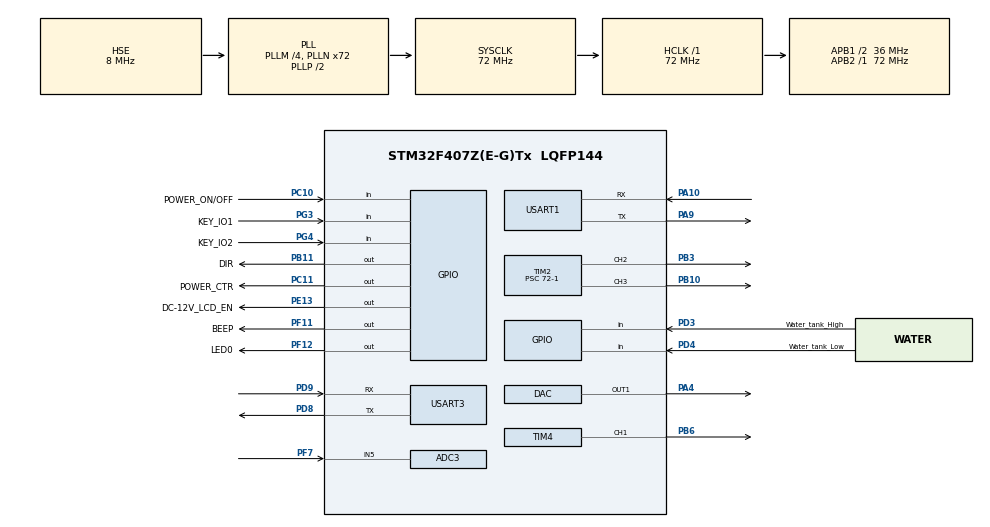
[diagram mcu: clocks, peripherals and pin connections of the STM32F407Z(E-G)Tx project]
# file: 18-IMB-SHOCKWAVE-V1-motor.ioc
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ADC3.Channel-0\#ChannelRegularConversion=ADC_CHANNEL_5
ADC3.ClockPrescaler=ADC_CLOCK_SYNC_PCLK_DIV6
ADC3.ContinuousConvMode=ENABLE
ADC3.NbrOfConversionFlag=1
ADC3.Rank-0\#ChannelRegularConversion=1
ADC3.SamplingTime-0\#ChannelRegularConversion=ADC_SAMPLETIME_15CYCLES
FREERTOS.BinarySemaphores01=Binary_pump_flag,Dynamic,NULL,Available;Binary_pump2_flag,Dynamic,NULL,Available
FREERTOS.Tasks01=PWR_Task,0,128,Start_PWR_Task,Default,NULL,Dynamic,NULL,NULL;LED_Task,-3,128,Start_LED_Task,Default,NULL,Dynamic,NULL,NULL;liquid_Task,-3,128,Start_liquid_Task,Default,NULL,Dynamic,NULL,NULL;water_pump_Task,-3,128,Start_water_pump_Task,Default,NULL,Dynamic,NULL,NULL;B3950_Task,-3,128,Start_B3950_Task,Default,NULL,Dynamic,NULL,NULL;PID_Task,-3,128,Start_PID_Task,Default,NULL,Dynamic,NULL,NULL;PID_printf_Task,-3,128,Start_PID_printf_Task,Default,NULL,Dynamic,NULL,NULL;VOFA_Task,-3,128,Start_VOFA_Task,Default,NULL,Dynamic,NULL,NULL;voice_Task,-3,128,Start_voice_Task,Default,NULL,Dynamic,NULL,NULL;servomotor_Task,-3,128,Start_servomotor_Task,Default,NULL,Dynamic,NULL,NULL
FREERTOS.configMAX_TASK_NAME_LEN=30
Mcu.Family=STM32F4
Mcu.Name=STM32F407Z(E-G)Tx
Mcu.Package=LQFP144
NVIC.PriorityGroup=NVIC_PRIORITYGROUP_4
NVIC.TIM3_IRQn=true\:5\:0\:false\:false\:true\:true\:true\:true\:true
NVIC.TIM7_IRQn=true\:15\:0\:false\:false\:true\:false\:false\:true\:true
NVIC.TimeBase=TIM7_IRQn
NVIC.TimeBaseIP=TIM7
NVIC.USART1_IRQn=true\:5\:0\:false\:false\:true\:true\:true\:true\:true
NVIC.USART3_IRQn=true\:5\:0\:false\:false\:true\:true\:true\:true\:true
PA10.Mode=Asynchronous
PA10.Signal=USART1_RX
PA13.Mode=Serial_Wire
PA13.Signal=SYS_JTMS-SWDIO
PA14.Mode=Serial_Wire
PA14.Signal=SYS_JTCK-SWCLK
PA4.Signal=COMP_DAC1_group
PA9.Mode=Asynchronous
PA9.Signal=USART1_TX
PB10.GPIO_PuPd=GPIO_PULLDOWN
PB10.GPIO_Speed=GPIO_SPEED_FREQ_HIGH
PB10.Signal=S_TIM2_CH3
PB11.GPIO_Label=DIR
PB11.GPIO_PuPd=GPIO_PULLDOWN
PB11.GPIO_Speed=GPIO_SPEED_FREQ_HIGH
PB11.Signal=GPIO_Output
PB3.GPIO_PuPd=GPIO_PULLDOWN
PB3.GPIO_Speed=GPIO_SPEED_FREQ_HIGH
PB3.Signal=S_TIM2_CH2
PB4.GPIO_PuPd=GPIO_PULLDOWN
PB4.Signal=S_TIM3_CH1
PB6.Signal=S_TIM4_CH1
PC10.GPIO_Label=POWER_ON/OFF
PC10.GPIO_PuPd=GPIO_PULLUP
PC10.Signal=GPIO_Input
PC11.GPIO_Label=POWER_CTR
PC11.GPIO_PuPd=GPIO_PULLDOWN
PC11.GPIO_Speed=GPIO_SPEED_FREQ_HIGH
PC11.PinState=GPIO_PIN_RESET
PC11.Signal=GPIO_Output
PD3.GPIO_Label=Water_tank_High
PD3.GPIO_PuPd=GPIO_PULLUP
PD3.Signal=GPIO_Input
PD4.GPIO_Label=Water_tank_Low
PD4.GPIO_PuPd=GPIO_PULLUP
PD4.Signal=GPIO_Input
PD8.Mode=Asynchronous
PD8.Signal=USART3_TX
PD9.Mode=Asynchronous
PD9.Signal=USART3_RX
PE13.GPIO_Label=DC-12V_LCD_EN
PE13.GPIO_PuPd=GPIO_PULLDOWN
PE13.GPIO_Speed=GPIO_SPEED_FREQ_HIGH
PE13.Signal=GPIO_Output
PF11.GPIO_Label=BEEP
PF11.GPIO_PuPd=GPIO_PULLDOWN
PF11.GPIO_Speed=GPIO_SPEED_FREQ_HIGH
PF11.Signal=GPIO_Output
PF12.GPIO_Label=LED0
PF12.GPIO_PuPd=GPIO_PULLDOWN
PF12.GPIO_Speed=GPIO_SPEED_FREQ_HIGH
PF12.Signal=GPIO_Output
PF7.Mode=IN5
PF7.Signal=ADC3_IN5
PG3.GPIO_Label=KEY_IO1
PG3.GPIO_PuPd=GPIO_PULLUP
PG3.Signal=GPIO_Input
PG4.GPIO_Label=KEY_IO2
PG4.GPIO_PuPd=GPIO_PULLUP
PG4.Signal=GPIO_Input
PH0-OSC_IN.Mode=HSE-External-Oscillator
PH0-OSC_IN.Signal=RCC_OSC_IN
PH1-OSC_OUT.Mode=HSE-External-Oscillator
PH1-OSC_OUT.Signal=RCC_OSC_OUT
ProjectManager.HeapSize=0x200
ProjectManager.StackSize=0x400
ProjectManager.TargetToolchain=MDK-ARM V5.32
RCC.48MHZClocksFreq_Value=36000000
RCC.AHBFreq_Value=72000000
RCC.APB1CLKDivider=RCC_HCLK_DIV2
RCC.APB1Freq_Value=36000000
RCC.APB1TimFreq_Value=72000000
RCC.APB2Freq_Value=72000000
RCC.APB2TimFreq_Value=72000000
RCC.CortexFreq_Value=72000000
RCC.HCLKFreq_Value=72000000
RCC.HSE_VALUE=8000000
RCC.HSI_VALUE=16000000
RCC.LSE_VALUE=32768
RCC.PLLM=4
RCC.PLLN=72
RCC.PLLSourceVirtual=RCC_PLLSOURCE_HSE
RCC.SYSCLKFreq_VALUE=72000000
RCC.SYSCLKSource=RCC_SYSCLKSOURCE_PLLCLK
RCC.VCOOutputFreq_Value=144000000
SH.COMP_DAC1_group.0=DAC_OUT1,DAC_OUT1
SH.S_TIM2_CH2.0=TIM2_CH2,PWM Generation2 CH2
SH.S_TIM2_CH3.0=TIM2_CH3,PWM Generation3 CH3
SH.S_TIM3_CH1.0=TIM3_CH1
SH.S_TIM4_CH1.0=TIM4_CH1,PWM Generation1 CH1
TIM2.AutoReloadPreload=TIM_AUTORELOAD_PRELOAD_ENABLE
TIM2.Channel-PWM\ Generation2\ CH2=TIM_CHANNEL_2
TIM2.Channel-PWM\ Generation3\ CH3=TIM_CHANNEL_3
TIM2.Period=2000-1
TIM2.Prescaler=72-1
TIM2.TIM_MasterOutputTrigger=TIM_TRGO_UPDATE
TIM2.TIM_MasterSlaveMode=TIM_MASTERSLAVEMODE_ENABLE
TIM4.Channel-PWM\ Generation1\ CH1=TIM_CHANNEL_1
TIM4.Period=1000
TIM4.Prescaler=72-1
USART1.VirtualMode=VM_ASYNC
USART3.VirtualMode=VM_ASYNC
VP_FREERTOS_VS_CMSIS_V1.Mode=CMSIS_V1
VP_SYS_VS_tim7.Mode=TIM7
VP_TIM2_VS_ClockSourceINT.Mode=Internal
VP_TIM3_VS_ClockSourceITR.Mode=TriggerSource_ITR1
VP_TIM3_VS_ControllerModeClock.Mode=Clock Mode
VP_TIM4_VS_ClockSourceINT.Mode=Internal
board=custom

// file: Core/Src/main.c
/* USER CODE BEGIN Header */
/**
  ******************************************************************************
  * @file           : main.c
  * @brief          : Main program body
  ******************************************************************************
  * @attention
  *
  * Copyright (c) 2024 STMicroelectronics.
  * All rights reserved.
  *
  * This software is licensed under terms that can be found in the LICENSE file
  * in the root directory of this software component.
  * If no LICENSE file comes with this software, it is provided AS-IS.
  *
  ******************************************************************************
  */
/* USER CODE END Header */
#include "main.h"
#include "cmsis_os.h"
#include "adc.h"
#include "dac.h"
#include "tim.h"
#include "usart.h"
#include "gpio.h"

void SystemClock_Config(void);
void MX_FREERTOS_Init(void);

int main(void)
{

  /* MCU Configuration--------------------------------------------------------*/

  /* Reset of all peripherals, Initializes the Flash interface and the Systick. */
  HAL_Init();

  /* Configure the system clock */
  SystemClock_Config();

  /* Initialize all configured peripherals */
  MX_GPIO_Init();
  MX_USART1_UART_Init();
  MX_TIM2_Init();
  MX_ADC3_Init();
  MX_USART3_UART_Init();
  MX_TIM3_Init();
  MX_DAC_Init();
  MX_TIM4_Init();
  /* USER CODE BEGIN 2 */
  HAL_GPIO_WritePin(POWER_CTR_GPIO_Port,POWER_CTR_Pin,GPIO_PIN_SET);
  HAL_GPIO_WritePin(BEEP_GPIO_Port,BEEP_Pin,GPIO_PIN_SET);
  HAL_GPIO_WritePin(DC_12V_LCD_EN_GPIO_Port,DC_12V_LCD_EN_Pin,GPIO_PIN_SET);
  HAL_Delay(500);
  HAL_GPIO_WritePin(BEEP_GPIO_Port,BEEP_Pin,GPIO_PIN_RESET);

  /* USER CODE END 2 */

  /* Call init function for freertos objects (in cmsis_os2.c) */
  MX_FREERTOS_Init();

  /* Start scheduler */
  osKernelStart();

  /* We should never get here as control is now taken by the scheduler */

  /* Infinite loop */
  while (1)
  {

  }
}

void SystemClock_Config(void)
{
  RCC_OscInitTypeDef RCC_OscInitStruct = {0};
  RCC_ClkInitTypeDef RCC_ClkInitStruct = {0};

  /** Configure the main internal regulator output voltage
  */
  __HAL_RCC_PWR_CLK_ENABLE();
  __HAL_PWR_VOLTAGESCALING_CONFIG(PWR_REGULATOR_VOLTAGE_SCALE1);

  /** Initializes the RCC Oscillators according to the specified parameters
  * in the RCC_OscInitTypeDef structure.
  */
  RCC_OscInitStruct.OscillatorType = RCC_OSCILLATORTYPE_HSE;
  RCC_OscInitStruct.HSEState = RCC_HSE_ON;
  RCC_OscInitStruct.PLL.PLLState = RCC_PLL_ON;
  RCC_OscInitStruct.PLL.PLLSource = RCC_PLLSOURCE_HSE;
  RCC_OscInitStruct.PLL.PLLM = 4;
  RCC_OscInitStruct.PLL.PLLN = 72;
  RCC_OscInitStruct.PLL.PLLP = RCC_PLLP_DIV2;
  RCC_OscInitStruct.PLL.PLLQ = 4;
  if (HAL_RCC_OscConfig(&RCC_OscInitStruct) != HAL_OK)
  {
    Error_Handler();
  }

  /** Initializes the CPU, AHB and APB buses clocks
  */
  RCC_ClkInitStruct.ClockType = RCC_CLOCKTYPE_HCLK|RCC_CLOCKTYPE_SYSCLK
                              |RCC_CLOCKTYPE_PCLK1|RCC_CLOCKTYPE_PCLK2;
  RCC_ClkInitStruct.SYSCLKSource = RCC_SYSCLKSOURCE_PLLCLK;
  RCC_ClkInitStruct.AHBCLKDivider = RCC_SYSCLK_DIV1;
  RCC_ClkInitStruct.APB1CLKDivider = RCC_HCLK_DIV2;
  RCC_ClkInitStruct.APB2CLKDivider = RCC_HCLK_DIV1;

  if (HAL_RCC_ClockConfig(&RCC_ClkInitStruct, FLASH_LATENCY_2) != HAL_OK)
  {
    Error_Handler();
  }
}

void HAL_TIM_PeriodElapsedCallback(TIM_HandleTypeDef *htim)
{
  if (htim->Instance == TIM7) {
    HAL_IncTick();
  }
  /* USER CODE BEGIN Callback 1 */

  if(htim == &htim3)
    {
        if(__HAL_TIM_GET_FLAG(&htim3, TIM_FLAG_CC2) != RESET)//判断是否触发中断
        {
            __HAL_TIM_CLEAR_FLAG(&htim3, TIM_FLAG_CC2); //清除中断标志
			HAL_TIM_PWM_Stop(&htim2, TIM_CHANNEL_3);   //关闭主定时器
            HAL_TIM_Base_Stop_IT(&htim3);              //关闭从定时器
        }
    }

  /* USER CODE END Callback 1 */
}

void Error_Handler(void)
{
  __disable_irq();
  while (1)
  {
  }
}

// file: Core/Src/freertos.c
/* USER CODE BEGIN Header */
/**
  ******************************************************************************
  * File Name          : freertos.c
  * Description        : Code for freertos applications
  ******************************************************************************
  * @attention
  *
  * Copyright (c) 2024 STMicroelectronics.
  * All rights reserved.
  *
  * This software is licensed under terms that can be found in the LICENSE file
  * in the root directory of this software component.
  * If no LICENSE file comes with this software, it is provided AS-IS.
  *
  ******************************************************************************
  */
/* USER CODE END Header */

#include "FreeRTOS.h"
#include "task.h"
#include "main.h"
#include "cmsis_os.h"

/* USER CODE BEGIN Includes */

#include "PWR_ON_OFF.h"
#include "tim.h"
#include "motor_control.h"

/* USER CODE END Includes */

osThreadId PWR_TaskHandle;
osThreadId LED_TaskHandle;
osThreadId liquid_TaskHandle;
osThreadId water_pump_TaskHandle;
osThreadId B3950_TaskHandle;
osThreadId PID_TaskHandle;
osThreadId PID_printf_TaskHandle;
osThreadId VOFA_TaskHandle;
osThreadId voice_TaskHandle;
osThreadId servomotor_TaskHandle;
osSemaphoreId Binary_pump_flagHandle;
osSemaphoreId Binary_pump2_flagHandle;

void Start_PWR_Task(void const * argument);
void Start_LED_Task(void const * argument);
void Start_liquid_Task(void const * argument);
void Start_water_pump_Task(void const * argument);
void Start_B3950_Task(void const * argument);
void Start_PID_Task(void const * argument);
void Start_PID_printf_Task(void const * argument);
void Start_VOFA_Task(void const * argument);
void Start_voice_Task(void const * argument);
void Start_servomotor_Task(void const * argument);

void MX_FREERTOS_Init(void); /* (MISRA C 2004 rule 8.1) */

/* GetIdleTaskMemory prototype (linked to static allocation support) */
void vApplicationGetIdleTaskMemory( StaticTask_t **ppxIdleTaskTCBBuffer, StackType_t **ppxIdleTaskStackBuffer, uint32_t *pulIdleTaskStackSize );

/* USER CODE BEGIN GET_IDLE_TASK_MEMORY */
static StaticTask_t xIdleTaskTCBBuffer;
static StackType_t xIdleStack[configMINIMAL_STACK_SIZE];

void vApplicationGetIdleTaskMemory( StaticTask_t **ppxIdleTaskTCBBuffer, StackType_t **ppxIdleTaskStackBuffer, uint32_t *pulIdleTaskStackSize )
{
  *ppxIdleTaskTCBBuffer = &xIdleTaskTCBBuffer;
  *ppxIdleTaskStackBuffer = &xIdleStack[0];
  *pulIdleTaskStackSize = configMINIMAL_STACK_SIZE;
  /* place for user code */
}
/* USER CODE END GET_IDLE_TASK_MEMORY */

void MX_FREERTOS_Init(void) {

  /* Create the semaphores(s) */
  /* definition and creation of Binary_pump_flag */
  osSemaphoreDef(Binary_pump_flag);
  Binary_pump_flagHandle = osSemaphoreCreate(osSemaphore(Binary_pump_flag), 1);

  /* definition and creation of Binary_pump2_flag */
  osSemaphoreDef(Binary_pump2_flag);
  Binary_pump2_flagHandle = osSemaphoreCreate(osSemaphore(Binary_pump2_flag), 1);

  /* Create the thread(s) */
  /* definition and creation of PWR_Task */
  osThreadDef(PWR_Task, Start_PWR_Task, osPriorityIdle, 0, 128);
  PWR_TaskHandle = osThreadCreate(osThread(PWR_Task), NULL);

  /* definition and creation of LED_Task */
  osThreadDef(LED_Task, Start_LED_Task, osPriorityIdle, 0, 128);
  LED_TaskHandle = osThreadCreate(osThread(LED_Task), NULL);

  /* definition and creation of liquid_Task */
  osThreadDef(liquid_Task, Start_liquid_Task, osPriorityIdle, 0, 128);
  liquid_TaskHandle = osThreadCreate(osThread(liquid_Task), NULL);

  /* definition and creation of water_pump_Task */
  osThreadDef(water_pump_Task, Start_water_pump_Task, osPriorityIdle, 0, 128);
  water_pump_TaskHandle = osThreadCreate(osThread(water_pump_Task), NULL);

  /* definition and creation of B3950_Task */
  osThreadDef(B3950_Task, Start_B3950_Task, osPriorityIdle, 0, 128);
  B3950_TaskHandle = osThreadCreate(osThread(B3950_Task), NULL);

  /* definition and creation of PID_Task */
  osThreadDef(PID_Task, Start_PID_Task, osPriorityIdle, 0, 128);
  PID_TaskHandle = osThreadCreate(osThread(PID_Task), NULL);

  /* definition and creation of PID_printf_Task */
  osThreadDef(PID_printf_Task, Start_PID_printf_Task, osPriorityIdle, 0, 128);
  PID_printf_TaskHandle = osThreadCreate(osThread(PID_printf_Task), NULL);

  /* definition and creation of VOFA_Task */
  osThreadDef(VOFA_Task, Start_VOFA_Task, osPriorityIdle, 0, 128);
  VOFA_TaskHandle = osThreadCreate(osThread(VOFA_Task), NULL);

  /* definition and creation of voice_Task */
  osThreadDef(voice_Task, Start_voice_Task, osPriorityIdle, 0, 128);
  voice_TaskHandle = osThreadCreate(osThread(voice_Task), NULL);

  /* definition and creation of servomotor_Task */
  osThreadDef(servomotor_Task, Start_servomotor_Task, osPriorityIdle, 0, 128);
  servomotor_TaskHandle = osThreadCreate(osThread(servomotor_Task), NULL);

}

void Start_PWR_Task(void const * argument)
{
  /* USER CODE BEGIN Start_PWR_Task */
  /* Infinite loop */
  for(;;)
  {
	  PWR_ON_OFF();
	  osDelay(20);
  }
  /* USER CODE END Start_PWR_Task */
}

void Start_LED_Task(void const * argument)
{
  /* USER CODE BEGIN Start_LED_Task */
  /* Infinite loop */
  for(;;)
  {
	  HAL_GPIO_TogglePin(LED0_GPIO_Port,LED0_Pin);
	  osDelay(100);
  }
  /* USER CODE END Start_LED_Task */
}

void Start_liquid_Task(void const * argument)
{
  /* USER CODE BEGIN Start_liquid_Task */
  /* Infinite loop */
  for(;;)
  {
    osDelay(300);
  }
  /* USER CODE END Start_liquid_Task */
}

void Start_water_pump_Task(void const * argument)
{
  /* USER CODE BEGIN Start_water_pump_Task */
  /* Infinite loop */
  for(;;)
  {
    osDelay(180);
  }
  /* USER CODE END Start_water_pump_Task */
}

void Start_B3950_Task(void const * argument)
{
  /* USER CODE BEGIN Start_B3950_Task */
  /* Infinite loop */
  for(;;)
  {
    osDelay(300);
  }
  /* USER CODE END Start_B3950_Task */
}

void Start_PID_Task(void const * argument)
{
  /* USER CODE BEGIN Start_PID_Task */
  /* Infinite loop */
  for(;;)
  {
    osDelay(500);
  }
  /* USER CODE END Start_PID_Task */
}

void Start_PID_printf_Task(void const * argument)
{
  /* USER CODE BEGIN Start_PID_printf_Task */
  /* Infinite loop */
  for(;;)
  {
    osDelay(150);
  }
  /* USER CODE END Start_PID_printf_Task */
}

void Start_VOFA_Task(void const * argument)
{
  /* USER CODE BEGIN Start_VOFA_Task */
  /* Infinite loop */
  for(;;)
  {
    osDelay(200);
  }
  /* USER CODE END Start_VOFA_Task */
}

void Start_voice_Task(void const * argument)
{
  /* USER CODE BEGIN Start_voice_Task */
  /* Infinite loop */
  for(;;)
  {
	  _motor_control();
  }
  /* USER CODE END Start_voice_Task */
}

void Start_servomotor_Task(void const * argument)
{
  /* USER CODE BEGIN Start_servomotor_Task */
  /* Infinite loop */
  for(;;)
  {
	  HAL_GPIO_TogglePin(DIR_GPIO_Port,DIR_Pin);
	  osDelay(1000);
  }
  /* USER CODE END Start_servomotor_Task */
}
